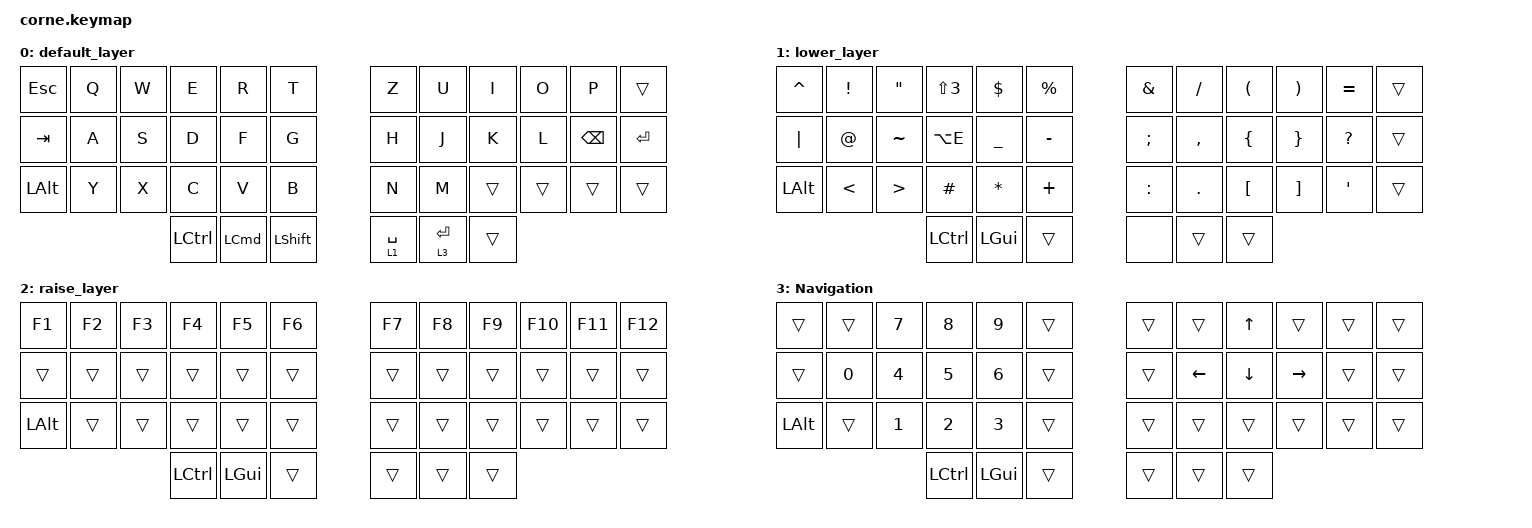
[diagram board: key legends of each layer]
/*
 * Copyright (c) 2020 The ZMK Contributors
 *
 * SPDX-License-Identifier: MIT
 */

#include <behaviors.dtsi>
#include <dt-bindings/zmk/keys.h>

/ {
    keymap {
        compatible = "zmk,keymap";

        default_layer {
            // -----------------------------------------------------------------------------------------
            // |  TAB |  Q  |  W  |  E  |  R  |  T  |   |  Y  |  U   |  I  |  O  |  P  | BKSP |
            // | CTRL |  A  |  S  |  D  |  F  |  G  |   |  H  |  J   |  K  |  L  |  ;  |  '   |
            // | SHFT |  Z  |  X  |  C  |  V  |  B  |   |  N  |  M   |  ,  |  .  |  /  | ESC  |
            //                    | GUI | LWR | SPC |   | ENT | RSE  | ALT |

            bindings = <
&kp ESC       &kp Q  &kp W  &kp E             &kp R             &kp T             &kp Z        &kp U        &kp I   &kp O   &kp P          &trans
&kp TAB       &kp A  &kp S  &kp D             &kp F             &kp G             &kp H        &kp J        &kp K   &kp L   &kp BACKSPACE  &kp ENTER
&kp LEFT_ALT  &kp Y  &kp X  &kp C             &kp V             &kp B             &kp N        &kp M        &trans  &trans  &trans         &trans
                            &kp LEFT_CONTROL  &kp LEFT_COMMAND  &kp LEFT_SHIFT    &lt 1 SPACE  &lt 3 ENTER  &trans
            >;
        };

        lower_layer {
            // -----------------------------------------------------------------------------------------
            // |  TAB |  1  |  2  |  3  |  4  |  5  |   |  6  |  7  |  8  |  9  |  0  | BKSP |
            // | BTCLR| BT1 | BT2 | BT3 | BT4 | BT5 |   | LFT | DWN |  UP | RGT |     |      |
            // | SHFT |     |     |     |     |     |   |     |     |     |     |     |      |
            //                    | GUI |     | SPC |   | ENT |     | ALT |

            bindings = <
&kp CARET  &kp EXCLAMATION  &kp DOUBLE_QUOTES  &kp LS(N3)  &kp DOLLAR      &kp PERCENT    &kp AMPERSAND  &kp SLASH   &kp LEFT_PARENTHESIS  &kp RIGHT_PARENTHESIS  &kp EQUAL         &trans
&kp PIPE   &kp AT           &kp TILDE          &kp LA(E)   &kp UNDERSCORE  &kp MINUS      &kp SEMICOLON  &kp COMMA   &kp LEFT_BRACE        &kp RIGHT_BRACE        &kp QUESTION      &trans
&kp LALT   &kp LESS_THAN    &kp GREATER_THAN   &kp HASH    &kp ASTERISK    &kp PLUS       &kp COLON      &kp PERIOD  &kp LEFT_BRACKET      &kp RIGHT_BRACKET      &kp SINGLE_QUOTE  &trans
                                               &kp LCTRL   &kp LGUI        &trans         &none          &trans      &trans
            >;
        };

        raise_layer {
            // -----------------------------------------------------------------------------------------
            // |  TAB |  !  |  @  |  #  |  $  |  %  |   |  ^  |  &  |  *  |  (  |  )  | BKSP |
            // | CTRL |     |     |     |     |     |   |  -  |  =  |  [  |  ]  |  \  |  `   |
            // | SHFT |     |     |     |     |     |   |  _  |  +  |  {  |  }  | "|" |  ~   |
            //                    | GUI |     | SPC |   | ENT |     | ALT |

            bindings = <
&kp F1    &kp F2  &kp F3  &kp F4     &kp F5    &kp F6    &kp F7  &kp F8  &kp F9  &kp F10  &kp F11  &kp F12
&trans    &trans  &trans  &trans     &trans    &trans    &trans  &trans  &trans  &trans   &trans   &trans
&kp LALT  &trans  &trans  &trans     &trans    &trans    &trans  &trans  &trans  &trans   &trans   &trans
                          &kp LCTRL  &kp LGUI  &trans    &trans  &trans  &trans
            >;
        };

        Navigation {
            bindings = <
&trans    &trans  &kp N7  &kp N8     &kp N9    &trans    &trans  &trans    &kp UP    &trans     &trans  &trans
&trans    &kp N0  &kp N4  &kp N5     &kp N6    &trans    &trans  &kp LEFT  &kp DOWN  &kp RIGHT  &trans  &trans
&kp LALT  &trans  &kp N1  &kp N2     &kp N3    &trans    &trans  &trans    &trans    &trans     &trans  &trans
                          &kp LCTRL  &kp LGUI  &trans    &trans  &trans    &trans
            >;
        };
    };
};
